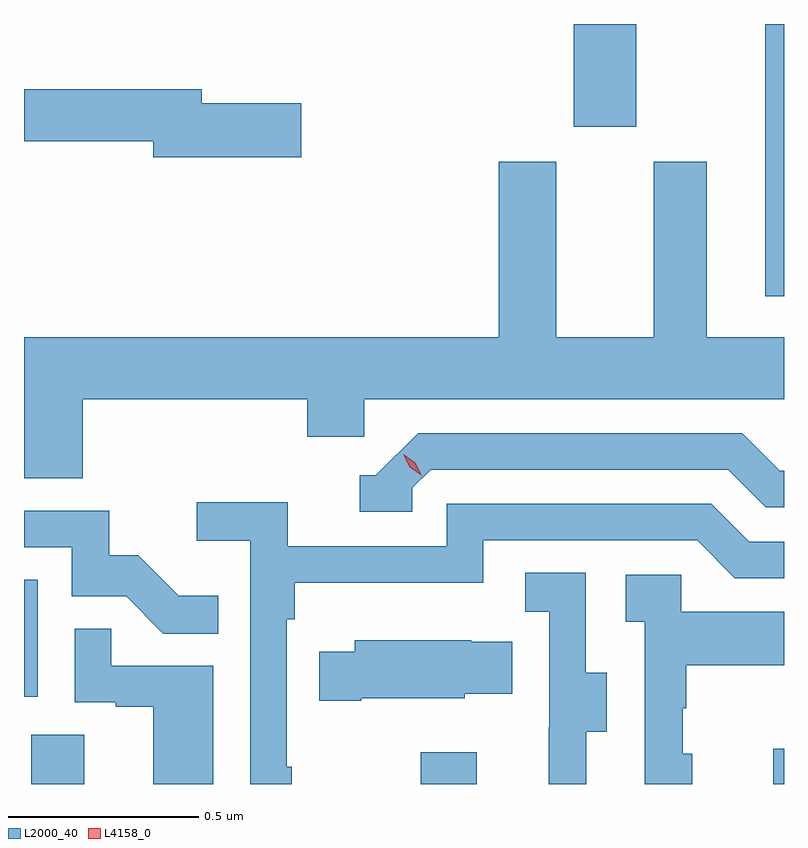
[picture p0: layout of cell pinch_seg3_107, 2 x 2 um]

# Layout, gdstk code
import gdstk
lib = gdstk.Library(unit=1e-6, precision=1e-09)
def R(c, l, rs):  # rectangles x0, y0, x1, y1
    for r in rs: c.add(gdstk.rectangle(r[:2], r[2:], *l))
def P(c, l, *ps):  # polygons
    for p in ps: c.add(gdstk.Polygon(p, *l))
L2000_40 = (2000, 40)
L4158_0 = (4158, 0)

pinch_seg3_107 = lib.new_cell('pinch_seg3_107')
R(pinch_seg3_107, L2000_40, [(1034.375,718.552,1034.515,718.682), (1035.4,718.552,1035.547,718.636), (1036.328,718.552,1036.356,718.645), (1034.356,718.782,1034.392,719.089), (1036.307,719.835,1036.356,720.552), (1035.803,720.282,1035.967,720.552)])
P(pinch_seg3_107, L2000_40, [(1035.085,720.344),(1034.824,720.344),(1034.824,720.38),(1034.356,720.38),(1034.356,720.244),(1034.696,720.244),(1034.696,720.202),(1035.085,720.202)],
  [(1034.51,719.564),(1035.101,719.564),(1035.101,719.466),(1035.252,719.466),(1035.252,719.564),(1036.356,719.564),(1036.356,719.728),(1036.153,719.728),(1036.153,720.19),(1036.013,720.19),(1036.013,719.728),(1035.757,719.728),(1035.757,720.19),(1035.605,720.19),(1035.605,719.728),(1034.356,719.728),(1034.356,719.356),(1034.51,719.356)],
  [(1035.378,719.331),(1035.426,719.379),(1036.209,719.379),(1036.308,719.28),(1036.356,719.28),(1036.356,719.376),(1036.345,719.376),(1036.246,719.475),(1035.393,719.475),(1035.282,719.364),(1035.239,719.364),(1035.239,719.268),(1035.378,719.268)],
  [(1035.061,718.597),(1035.048,718.597),(1035.048,718.985),(1035.068,718.985),(1035.068,719.081),(1035.564,719.081),(1035.564,719.193),(1036.128,719.193),(1036.227,719.094),(1036.356,719.094),(1036.356,719.19),(1036.264,719.19),(1036.165,719.289),(1035.468,719.289),(1035.468,719.178),(1035.05,719.178),(1035.05,719.294),(1034.811,719.294),(1034.811,719.192),(1034.952,719.192),(1034.952,718.552),(1035.061,718.552)],
  [(1034.867,719.047),(1034.763,719.047),(1034.656,719.154),(1034.58,719.154),(1034.58,719.271),(1034.356,719.271),(1034.356,719.175),(1034.481,719.175),(1034.481,719.046),(1034.625,719.046),(1034.723,718.948),(1034.867,718.948)],
  [(1035.835,718.69),(1035.889,718.69),(1035.889,718.845),(1035.834,718.845),(1035.834,719.108),(1035.675,719.108),(1035.675,719.005),(1035.738,719.005),(1035.738,718.701),(1035.737,718.701),(1035.737,718.552),(1035.835,718.552)],
  [(1036.114,718.632),(1036.089,718.632),(1036.089,718.751),(1036.099,718.751),(1036.099,718.865),(1036.356,718.865),(1036.356,719.005),(1036.086,719.005),(1036.086,719.103),(1035.939,719.103),(1035.939,718.979),(1035.99,718.979),(1035.99,718.552),(1036.114,718.552)],
  [(1034.854,718.863),(1034.585,718.863),(1034.585,718.961),(1034.49,718.961),(1034.49,718.767),(1034.597,718.767),(1034.597,718.755),(1034.696,718.755),(1034.696,718.552),(1034.854,718.552)],
  [(1035.244,718.778),(1035.516,718.778),(1035.516,718.79),(1035.641,718.79),(1035.641,718.927),(1035.533,718.927),(1035.533,718.93),(1035.227,718.93),(1035.227,718.9),(1035.133,718.9),(1035.133,718.771),(1035.244,718.771)])
P(pinch_seg3_107, L4158_0, [(1035.402,719.364),(1035.371,719.385),(1035.355,719.418),(1035.355,719.418),(1035.356,719.418),(1035.386,719.398),(1035.402,719.365),(1035.402,719.364)])

lib.write_gds('pinch_seg3_107.gds')
